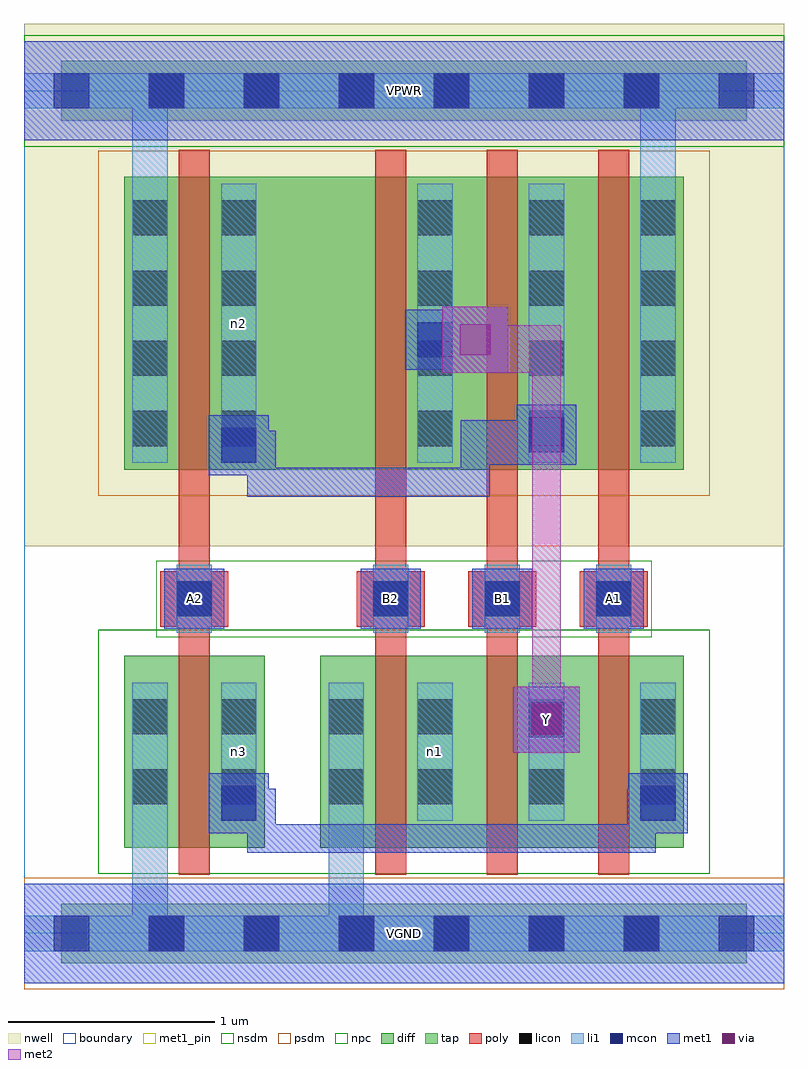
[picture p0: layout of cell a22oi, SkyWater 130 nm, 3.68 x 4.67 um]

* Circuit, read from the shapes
.subckt a22oi A1 A2 B1 B2 VGND VPWR Y n1 n2 n3
XM1 n3 A2 VGND VGND sky130_fd_pr__nfet_01v8 w=0.93 l=0.15
XM2 n1 B2 VGND VGND sky130_fd_pr__nfet_01v8 w=0.93 l=0.15
XM3 Y B1 n1 VGND sky130_fd_pr__nfet_01v8 w=0.93 l=0.15
XM4 n3 A1 Y VGND sky130_fd_pr__nfet_01v8 w=0.93 l=0.15
XM5 n2 A2 VPWR VPWR sky130_fd_pr__pfet_01v8 w=1.42 l=0.15
XM6 Y B2 n2 VPWR sky130_fd_pr__pfet_01v8 w=1.42 l=0.15
XM7 n2 B1 Y VPWR sky130_fd_pr__pfet_01v8 w=1.42 l=0.15
XM8 VPWR A1 n2 VPWR sky130_fd_pr__pfet_01v8 w=1.42 l=0.15
.ends

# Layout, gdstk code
import gdstk
lib = gdstk.Library(unit=1e-6, precision=1e-09)
def R(c, l, rs):  # rectangles x0, y0, x1, y1
    for r in rs: c.add(gdstk.rectangle(r[:2], r[2:], *l))
def A(c, l, x, y, w, h, nx, ny, dx, dy):  # array of equal rectangles
    R(c, l, [(x+i*dx, y+j*dy, x+i*dx+w, y+j*dy+h) for i in range(nx) for j in range(ny)])
nwell = (64, 20)
diff = (65, 20)
tap = (65, 44)
poly = (66, 20)
licon = (66, 44)
li1 = (67, 20)
mcon = (67, 44)
met1_pin = (68, 16)
met1 = (68, 20)
via = (68, 44)
met2 = (69, 20)
nsdm = (93, 44)
psdm = (94, 20)
npc = (95, 20)
boundary = (235, 4)

a22oi = lib.new_cell('a22oi')
R(a22oi, nwell, [(0,1.875,3.68,4.405)])
R(a22oi, diff, [(0.485,0.415,1.165,1.345), (1.435,0.415,3.195,1.345), (0.485,2.245,3.195,3.665)])
R(a22oi, tap, [(0.18,-0.145,3.5,0.145), (0.18,3.935,3.5,4.225)])
A(a22oi, poly, 1.7, 0.285, 0.15, 3.51, 3, 1, 0.54, 0)
A(a22oi, poly, 1.61, 1.485, 0.33, 0.27, 3, 1, 0.54, 0)
R(a22oi, poly, [(0.75,0.285,0.9,3.795), (0.66,1.485,0.99,1.755)])
A(a22oi, licon, 0.605, -0.085, 0.17, 0.17, 6, 2, 0.46, 4.08)
A(a22oi, licon, 1.905, 0.625, 0.17, 0.17, 3, 2, 0.54, 0.34)
A(a22oi, licon, 1.69, 1.535, 0.17, 0.17, 3, 1, 0.54, 0)
A(a22oi, licon, 0.525, 2.36, 0.17, 0.17, 1, 4, 0, 0.34)
A(a22oi, licon, 0.955, 2.36, 0.17, 0.17, 1, 4, 0, 0.34)
A(a22oi, licon, 1.905, 2.36, 0.17, 0.17, 3, 4, 0.54, 0.34)
R(a22oi, licon, [(0.525,0.625,0.695,0.795), (0.955,0.625,1.125,0.795), (1.475,0.625,1.645,0.795), (0.525,0.965,0.695,1.135), (0.955,0.965,1.125,1.135), (1.475,0.965,1.645,1.135), (0.74,1.535,0.91,1.705)])
A(a22oi, li1, 1.905, 0.545, 0.17, 0.67, 3, 1, 0.54, 0)
A(a22oi, li1, 1.69, 1.455, 0.17, 0.33, 3, 1, 0.54, 0)
A(a22oi, li1, 1.905, 2.28, 0.17, 1.35, 3, 1, 0.54, 0)
R(a22oi, li1, [(0,-0.085,3.68,0.085), (0.525,-0.085,0.695,1.215), (1.475,-0.085,1.645,1.215), (0.525,0.545,0.695,1.215), (0.955,0.545,1.125,1.215), (1.475,0.545,1.645,1.215), (0.74,1.455,0.91,1.785), (0.525,2.28,0.695,3.63), (0.525,2.28,0.695,4.165), (0.955,2.28,1.125,3.63), (2.985,2.28,3.155,4.165), (0,3.995,3.68,4.165)])
A(a22oi, mcon, 0.145, -0.085, 0.17, 0.17, 8, 2, 0.46, 4.08)
A(a22oi, mcon, 1.69, 1.535, 0.17, 0.17, 3, 1, 0.54, 0)
R(a22oi, mcon, [(0.955,0.545,1.125,0.715), (2.985,0.545,3.155,0.715), (2.445,0.95,2.615,1.12), (0.74,1.535,0.91,1.705), (0.955,2.28,1.125,2.45), (2.445,2.33,2.615,2.5), (1.905,2.79,2.075,2.96)])
A(a22oi, met1_pin, 1.63, 1.475, 0.29, 0.29, 3, 1, 0.54, 0)
R(a22oi, met1_pin, [(0,-0.24,3.68,0.24), (2.37,0.875,2.69,1.195), (0.68,1.475,0.97,1.765), (0,3.84,3.68,4.32)])
A(a22oi, met1, 1.63, 1.475, 0.29, 0.29, 3, 1, 0.54, 0)
R(a22oi, met1, [(0,-0.24,3.68,0.24), (1.08,0.39,1.22,0.7), (1.08,0.39,3.06,0.53), (2.92,0.39,3.06,0.7), (0.895,0.485,1.185,0.775), (2.925,0.485,3.215,0.775), (0.97,0.56,1.22,0.7), (2.92,0.56,3.14,0.7), (2.37,0.875,2.69,1.195), (2.385,0.89,2.675,1.18), (0.68,1.475,0.97,1.765), (1.08,2.115,1.22,2.435), (1.08,2.115,2.255,2.255), (2.115,2.115,2.255,2.485), (0.895,2.22,1.185,2.51), (2.255,2.27,2.385,2.485), (2.385,2.27,2.675,2.56), (0.97,2.295,1.22,2.435), (2.115,2.345,2.6,2.485), (2.025,2.715,2.345,3.035), (1.845,2.73,2.135,3.02), (1.92,2.805,2.255,2.945), (0,3.84,3.68,4.32)])
R(a22oi, via, [(2.455,0.96,2.605,1.11), (2.11,2.8,2.26,2.95)])
R(a22oi, met2, [(2.37,0.875,2.69,1.195), (2.46,0.965,2.6,2.945), (2.025,2.715,2.345,3.035), (2.345,2.715,2.46,2.945), (2.115,2.805,2.6,2.945)])
R(a22oi, nsdm, [(0.36,0.29,3.32,1.47), (0,3.81,3.68,4.35)])
R(a22oi, psdm, [(0,-0.27,3.68,0.27), (0.36,2.12,3.32,3.79)])
R(a22oi, npc, [(0.64,1.435,3.04,1.805)])
R(a22oi, boundary, [(0,0,3.68,4.08)])
a22oi.add(gdstk.Label('n2', (1.04,2.955), layer=67, texttype=5))
a22oi.add(gdstk.Label('n3', (1.04,0.88), layer=67, texttype=5))
a22oi.add(gdstk.Label('n1', (1.99,0.88), layer=67, texttype=5))
a22oi.add(gdstk.Label('A1', (2.855,1.62), layer=68, texttype=5))
a22oi.add(gdstk.Label('A2', (0.825,1.62), layer=68, texttype=5))
a22oi.add(gdstk.Label('B1', (2.315,1.62), layer=68, texttype=5))
a22oi.add(gdstk.Label('B2', (1.775,1.62), layer=68, texttype=5))
a22oi.add(gdstk.Label('Y', (2.53,1.035), layer=68, texttype=5))
a22oi.add(gdstk.Label('VPWR', (1.84,4.08), layer=68, texttype=5))
a22oi.add(gdstk.Label('VGND', (1.84,0), layer=68, texttype=5))
a22oi.add(gdstk.Label('A1', (2.855,1.62), layer=68, texttype=16))
a22oi.add(gdstk.Label('A2', (0.825,1.62), layer=68, texttype=16))
a22oi.add(gdstk.Label('B1', (2.315,1.62), layer=68, texttype=16))
a22oi.add(gdstk.Label('B2', (1.775,1.62), layer=68, texttype=16))
a22oi.add(gdstk.Label('Y', (2.53,1.035), layer=68, texttype=16))
a22oi.add(gdstk.Label('VPWR', (1.84,4.08), layer=68, texttype=16))
a22oi.add(gdstk.Label('VGND', (1.84,0), layer=68, texttype=16))

lib.write_gds('a22oi.gds')
